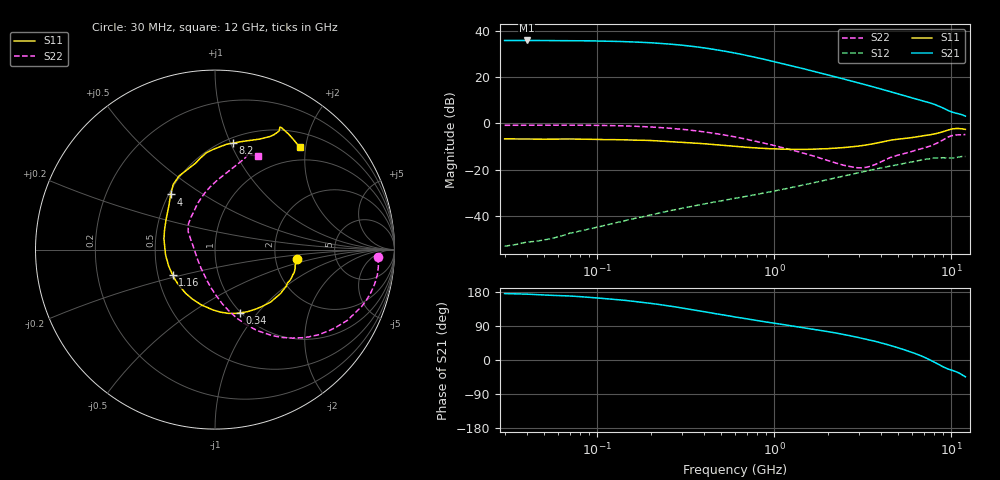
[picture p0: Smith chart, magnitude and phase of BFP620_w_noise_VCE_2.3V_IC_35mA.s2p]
! Infineon Technologies  Discrete & RF Semiconductors
! BFP620
! VCE =  2.3 V,  IC =  35 mA
! Common Emitter S-Parameters:  Nov 2015
# GHz  S  MA  R  50
!  f  S11  S21  S12  S22
! GHz  MAG  ANG  MAG  ANG  MAG  ANG  MAG  ANG
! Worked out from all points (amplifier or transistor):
!   239 points, 30 MHz to 12 GHz, reference 50 ohm
!   highest |S21| = 35.9 dB at 40 MHz (marker M1)
!   |S21| within 3 dB of that: start of sweep to 383.4 MHz
!   unconditionally stable (mu >= 1): 2.283 GHz to end of sweep
!   at 300 MHz: K = 0.45, MSG = 35.3 dB, |S12| = -36.8 dB
!   at 1.88 GHz: K = 0.97, MSG = 23.2 dB, |S12| = -24.8 dB
!   at 12 GHz: K = 1.09, MAG = 6.9 dB, |S12| = -14.3 dB
!   lowest NFmin = 1.24 dB at 450 MHz
!   S11 on the Smith chart (normalised r, x): 30 MHz: 2.65, -0.36; 340 MHz: 0.98, -0.81; 1.16 GHz: 0.60, -0.18; 4 GHz: 0.51, +0.37; 8.2 GHz: 0.55, +1.02; 12 GHz: 0.74, +1.89
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0.03  0.461 -6.7  62.02 175.3  0.0022 62.4  0.9071 -2.6
0.04  0.4595 -9.4  62.18 173.8  0.0027 63.3  0.9118 -4.2
0.05  0.4545 -10.7  61.92 171.3  0.003 68.3  0.9149 -5.8
0.07  0.4594 -16.4  61.7 168.9  0.0042 69.5  0.915 -9.1
0.085  0.4549 -19.2  61.08 166.3  0.0049 69.6  0.9108 -11.6
0.115  0.4452 -26.0  60.08 161.5  0.0064 70.9  0.8978 -16.2
0.145  0.4405 -32.5  58.57 157.2  0.0079 70.9  0.8793 -20.6
0.195  0.4267 -42.5  55.75 150.2  0.0102 69.9  0.8399 -27.4
0.24  0.4099 -51.1  52.94 144.4  0.0122 68.9  0.8004 -32.8
0.3  0.3907 -62.2  49.21 137.3  0.0145 67.2  0.7458 -39.6
0.34  0.3789 -68.8  46.65 133.2  0.0159 66.1  0.7086 -43.5
0.4  0.363 -78.3  43.06 127.5  0.0179 64.9  0.6556 -48.8
0.45  0.3491 -85.4  40.2 123.4  0.0196 64.2  0.6146 -52.8
0.6  0.3173 -104.0  33.13 113.5  0.0239 62.6  0.5091 -62.5
0.8  0.2935 -123.6  26.29 103.9  0.0292 61.6  0.4043 -72.0
1.16  0.275 -148.7  18.87 92.5  0.0386 60.3  0.287 -84.3
1.64  0.2758 -171.8  13.6 81.7  0.0512 57.6  0.1997 -98.8
2.4  0.2972 162.2  9.338 68.3  0.0707 51.6  0.1275 -128.7
4  0.394 128.8  5.524 45.1  0.1084 36.1  0.1467 157.2
4.5  0.4321 122.5  4.87 38.5  0.1185 31.2  0.1813 145.8
8.2  0.6019 80.4  2.492 -8.1  0.1783 -7.1  0.366 91.5
12  0.7409 50.5  1.434 -44.3  0.1918 -38.0  0.5736 65.4
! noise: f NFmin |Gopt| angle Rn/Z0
0.45  1.24  0.19  -162  0.1
0.9  1.25  0.22  -150  0.1
1.9  1.26  0.26  -138  0.11
2.4  1.28  0.26  -136  0.11
3.5  1.32  0.33  -101  0.18
5.5  1.6  0.36  -84  0.23
10  1.92  0.63  -45  0.98
